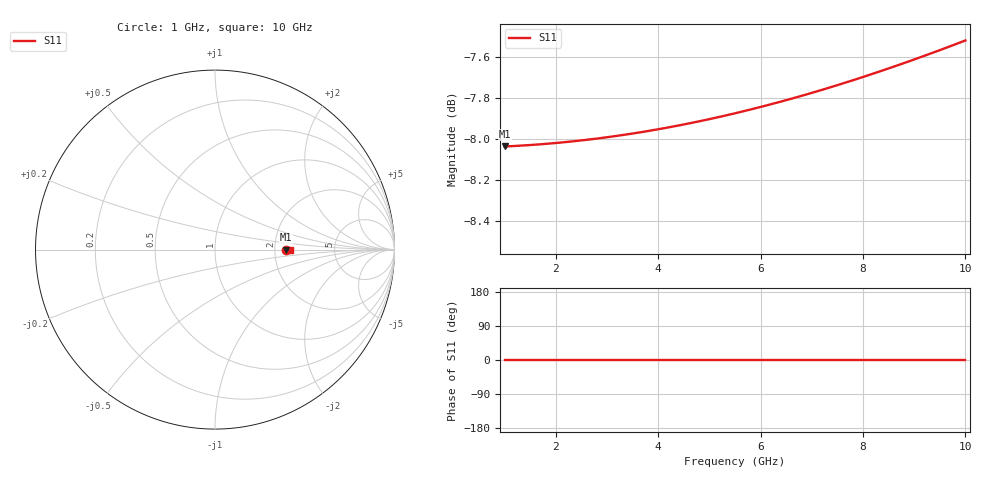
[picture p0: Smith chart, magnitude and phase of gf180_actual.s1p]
! Created with skrf 1.12.0 (http://scikit-rf.org).
# GHz S RI R 50.0
!freq ReS11 ImS11
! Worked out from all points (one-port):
!   81 points, 1 GHz to 10 GHz, reference 50 ohm
!   lowest |S11| = -8.0 dB at 1 GHz (marker M1), VSWR 2.31, Z = 116 + j0 ohm
!   |S11| at or under -10 dB: nowhere
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1  0.3964 0
1.3375  0.3966 0
1.5625  0.3968 0
1.9  0.3971 0
2.125  0.3973 0
2.35  0.3976 0
2.6875  0.398 0
2.9125  0.3983 0
3.25  0.3989 0
3.475  0.3992 0
3.8125  0.3999 0
4.0375  0.4003 0
4.375  0.401 0
4.6  0.4015 0
4.9375  0.4024 0
5.1625  0.4029 0
5.5  0.4038 0
5.725  0.4045 0
6.0625  0.4055 0
6.2875  0.4061 0
6.625  0.4072 0
6.85  0.408 0
7.1875  0.4091 0
7.75  0.4112 0
8.3125  0.4133 0
8.875  0.4157 0
9.4375  0.4181 0
10  0.4206 0
